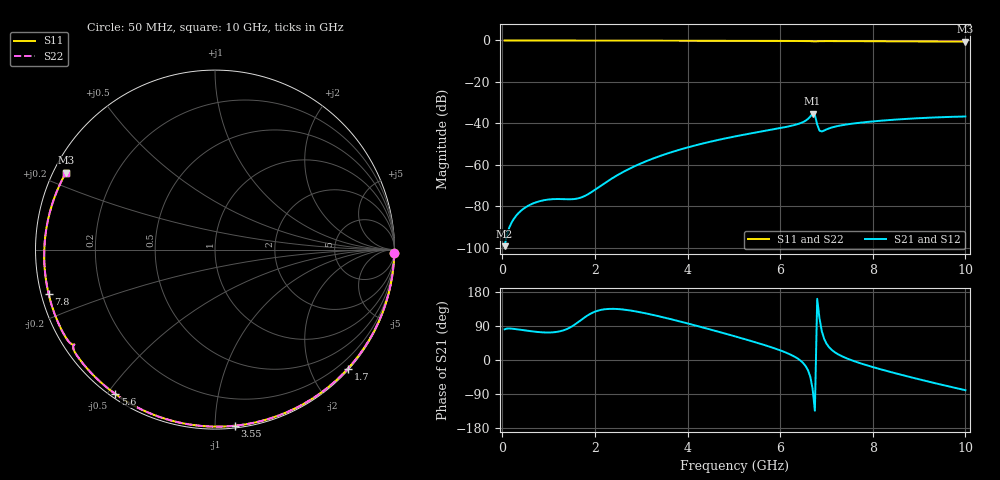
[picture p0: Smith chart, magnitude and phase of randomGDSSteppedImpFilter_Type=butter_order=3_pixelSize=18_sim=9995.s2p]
! freq	dB(S11)	phase(S11)	dB(S12)	phase(S12)
!  dB(S21)	phase(S21)	dB(S22)	phase(S22)
!S-par simulation data
#  GHz  S  DB  R 50
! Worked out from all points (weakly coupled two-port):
!   200 points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, 50 MHz to 10 GHz, reference 50 ohm
!   highest |S21| = -35.33 dB at 6.7 GHz (marker M1); lowest = -99.2 dB at 50 MHz (marker M2)
!   lowest |S11| = -0.6 dB at 10 GHz (marker M3), VSWR 29.63, Z = 1.79 + j12.1 ohm
!   |S11| at or under -10 dB: nowhere
!   |S22| runs from -0.6 to 0.0 dB; largest |S21 - S12| = 0
!   S11 on the Smith chart (normalised r, x): 50 MHz: 2, -94; 1.7 GHz: 0.02, -2.62; 3.55 GHz: 0.01, -1.12; 5.6 GHz: 0.01, -0.52; 7.8 GHz: 0.02, -0.13; 10 GHz: 0.04, +0.24
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0.05  -0.00 -1.2  -99.21 80.9  -99.21 80.9  -0.00 -1.2
0.5  -0.02 -12.5  -80.52 77.8  -80.52 77.8  -0.02 -12.5
0.95  -0.03 -23.7  -76.85 72.5  -76.85 72.5  -0.03 -23.7
1.7  -0.05 -41.8  -75.75 105.5  -75.75 105.5  -0.05 -41.8
1.75  -0.05 -43.0  -75.32 110.0  -75.32 110.0  -0.05 -43.0
2.65  -0.08 -63.9  -62.95 132.6  -62.95 132.6  -0.08 -63.9
3.4  -0.10 -80.4  -55.77 114.8  -55.77 114.8  -0.10 -80.4
3.55  -0.11 -83.6  -54.63 110.5  -54.63 110.5  -0.11 -83.6
5.05  -0.17 -114.1  -46.17 61.6  -46.17 61.6  -0.17 -114.0
5.6  -0.20 -124.7  -43.88 41.8  -43.88 41.8  -0.20 -124.6
6.4  -0.25 -139.8  -40.19 2.1  -40.19 2.1  -0.25 -139.7
6.55  -0.27 -142.8  -38.68 -16.0  -38.68 -16.0  -0.27 -142.7
6.7  -0.40 -145.9  -35.33 -75.4  -35.33 -75.4  -0.40 -145.8
6.75  -0.49 -146.1  -35.97 -133.8  -35.97 -133.8  -0.49 -146.0
6.8  -0.41 -146.3  -40.53 161.4  -40.53 161.4  -0.41 -146.2
6.85  -0.35 -147.3  -43.52 109.7  -43.52 109.7  -0.34 -147.2
6.9  -0.32 -148.3  -43.88 75.8  -43.88 75.8  -0.32 -148.2
7.25  -0.32 -155.0  -41.24 15.1  -41.24 15.1  -0.32 -154.9
7.8  -0.36 -165.2  -39.49 -11.3  -39.49 -11.3  -0.36 -165.1
8.35  -0.41 -175.4  -38.40 -30.5  -38.40 -30.5  -0.41 -175.3
9.2  -0.50 168.5  -37.26 -56.9  -37.26 -56.9  -0.50 168.6
10  -0.59 152.7  -36.67 -79.7  -36.67 -79.7  -0.59 152.9
